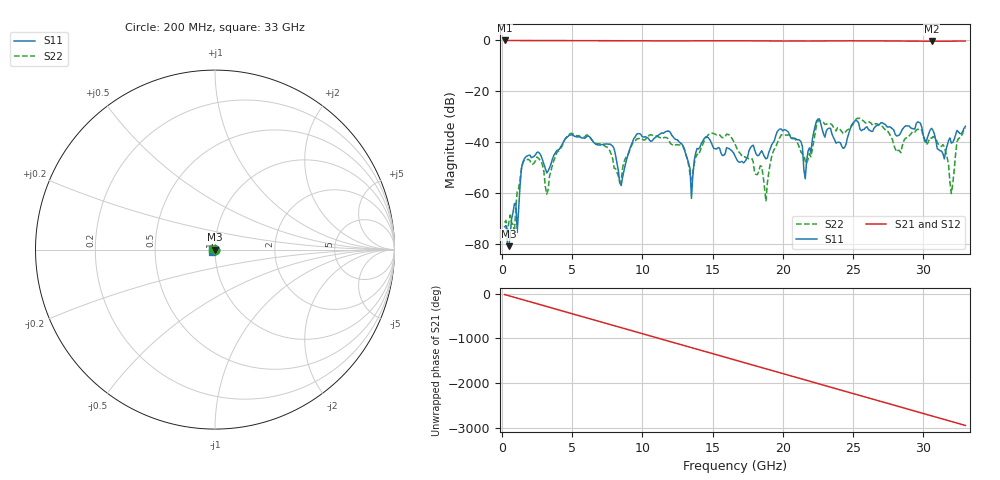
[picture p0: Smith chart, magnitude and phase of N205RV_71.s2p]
# GHZ S RI R 50
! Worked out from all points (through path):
!   329 points, 200 MHz to 33 GHz, reference 50 ohm
!   highest |S21| = -0.02 dB at 200 MHz (marker M1); lowest = -0.3 dB at 30.6 GHz (marker M2)
!   group delay of S21, straight-line fit = 248 ps
!   lowest |S11| = -80.8 dB at 500 MHz (marker M3), VSWR 1.00, Z = 50 - j0.00794 ohm
!   |S11| at or under -10 dB: start of sweep to end of sweep
!   |S22| runs from -76.1 to -30.6 dB; largest |S21 - S12| = 0.0019
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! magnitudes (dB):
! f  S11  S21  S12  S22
! 200 MHz  -73.2  0.0  0.0  -71.6
! 500 MHz  -80.8  0.0  0.0  -71.5
! 900 MHz  -64.2  -0.1  -0.1  -75.4
! 1.1 GHz  -75.5  -0.1  -0.1  -59.1
! 1.6 GHz  -46.5  -0.1  -0.1  -47.2
! 3.2 GHz  -52.1  -0.1  -0.1  -60.4
! 5.7 GHz  -38.3  -0.1  -0.1  -38.0
! 8.5 GHz  -57.0  -0.1  -0.1  -55.1
! 9.6 GHz  -36.8  -0.2  -0.2  -38.8
! 11.2 GHz  -37.0  -0.2  -0.2  -38.1
! 12.9 GHz  -41.4  -0.2  -0.2  -41.8
! 13.5 GHz  -62.1  -0.2  -0.2  -54.7
! 14.5 GHz  -38.0  -0.1  -0.1  -38.5
! 16.6 GHz  -45.4  -0.1  -0.1  -40.7
! 18.8 GHz  -46.5  -0.2  -0.2  -63.3
! 19.9 GHz  -34.9  -0.3  -0.3  -37.1
! 21.6 GHz  -54.4  -0.3  -0.3  -47.5
! 22.1 GHz  -39.1  -0.2  -0.2  -43.0
! 27.6 GHz  -33.9  -0.2  -0.2  -36.8
! 30.6 GHz  -34.6  -0.3  -0.3  -38.4
! 32 GHz  -40.3  -0.3  -0.3  -60.2
! 33 GHz  -33.8  -0.3  -0.3  -34.3
